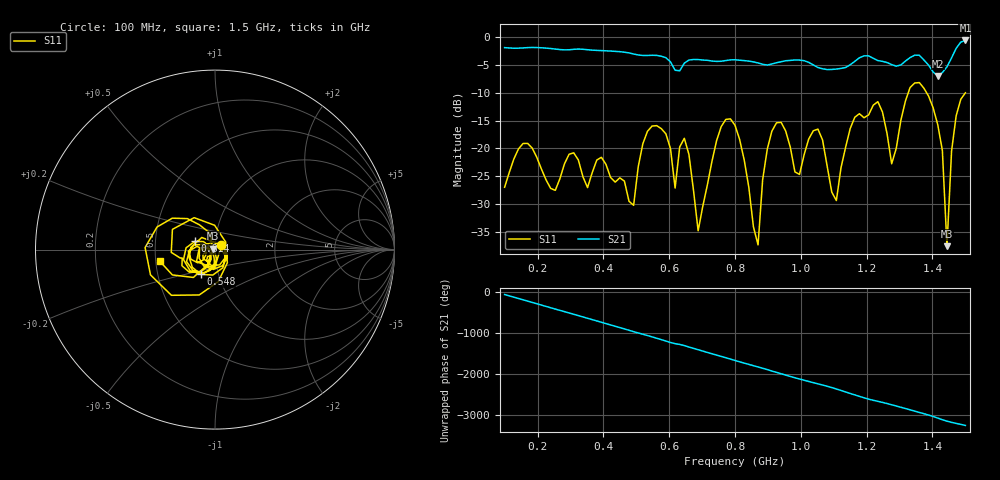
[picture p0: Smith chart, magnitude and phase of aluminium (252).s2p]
! NanoVNA-App
! Date: 2025-09-25 14:57:14
! Start: 100MHz Stop: 1,5GHz Points: 101
! S-Parameter data: F S11 S21 S12 S22
# Hz S RI R 50
!  Frequency  S11_Real  S11_Imag  S21_Real  S21_Imag  S12_Real  S12_Imag  S22_Real  S22_Imag
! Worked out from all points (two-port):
!   101 points, 100 MHz to 1.5 GHz, reference 50 ohm
!   highest |S21| = -0.64 dB at 1.5 GHz (marker M1); lowest = -7.0 dB at 1.416 GHz (marker M2)
!   |S21| within 3 dB of the highest: start of sweep to 585.2 MHz; 1.459 GHz to end of sweep (the widest 2 of 4)
!   lowest |S11| = -37.5 dB at 1.444 GHz (marker M3), VSWR 1.03, Z = 48.8 + j0.573 ohm
!   |S11| at or under -10 dB: start of sweep to 1.327 GHz; 1.382 GHz to end of sweep
!   S12 and S22 are empty: the file has one direction only
!   S11 on the Smith chart (normalised r, x): 100 MHz: 1.07, +0.06; 548 MHz: 0.82, -0.23; 814 MHz: 0.80, +0.07; 1.5 GHz: 0.52, -0.07
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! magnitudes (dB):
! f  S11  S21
! 100 MHz  -27.0  -1.9
! 338 MHz  -25.1  -2.2
! 492 MHz  -30.2  -3.1
! 548 MHz  -16.0  -3.3
! 576 MHz  -16.4  -3.5
! 618 MHz  -27.1  -6.0
! 646 MHz  -18.2  -4.7
! 688 MHz  -34.8  -4.1
! 800 MHz  -15.8  -4.1
! 814 MHz  -18.4  -4.2
! 870 MHz  -37.3  -4.7
! 912 MHz  -16.9  -4.9
! 996 MHz  -24.7  -4.2
! 1.038 GHz  -16.8  -5.0
! 1.108 GHz  -29.3  -5.8
! 1.178 GHz  -13.8  -3.7
! 1.276 GHz  -22.7  -5.0
! 1.346 GHz  -8.3  -3.3
! 1.416 GHz  -15.7  -7.0
! 1.444 GHz  -37.5  -5.4
! 1.458 GHz  -20.4  -3.8
! 1.5 GHz  -10.0  -0.6
